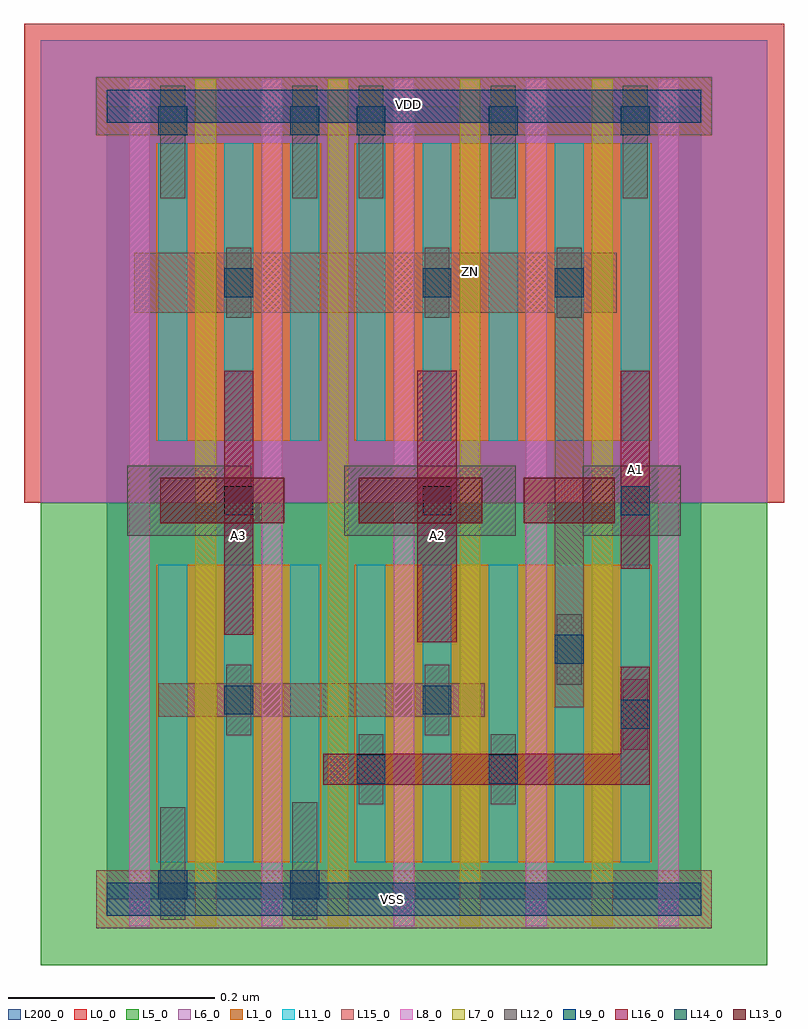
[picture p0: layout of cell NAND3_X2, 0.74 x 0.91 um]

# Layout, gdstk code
import gdstk
lib = gdstk.Library(unit=1e-6, precision=1e-09)
def R(c, l, rs):  # rectangles x0, y0, x1, y1
    for r in rs: c.add(gdstk.rectangle(r[:2], r[2:], *l))
def A(c, l, x, y, w, h, nx, ny, dx, dy):  # array of equal rectangles
    R(c, l, [(x+i*dx, y+j*dy, x+i*dx+w, y+j*dy+h) for i in range(nx) for j in range(ny)])
def P(c, l, *ps):  # polygons
    for p in ps: c.add(gdstk.Polygon(p, *l))
L0_0 = (0, 0)
L1_0 = (1, 0)
L5_0 = (5, 0)
L6_0 = (6, 0)
L7_0 = (7, 0)
L8_0 = (8, 0)
L9_0 = (9, 0)
L11_0 = (11, 0)
L12_0 = (12, 0)
L13_0 = (13, 0)
L14_0 = (14, 0)
L15_0 = (15, 0)
L16_0 = (16, 0)
L200_0 = (200, 0)

nand3_x2 = lib.new_cell('NAND3_X2')
R(nand3_x2, L0_0, [(-0.08,0.384,0.656,0.848)])
R(nand3_x2, L1_0, [(0.048,0.036,0.208,0.324), (0.24,0.036,0.528,0.324), (0.048,0.444,0.208,0.732), (0.24,0.444,0.528,0.732)])
R(nand3_x2, L5_0, [(-0.064,-0.064,0.64,0.384)])
R(nand3_x2, L6_0, [(-0.064,0.384,0.64,0.832)])
A(nand3_x2, L7_0, 0.086, -0.026, 0.02, 0.82, 4, 1, 0.128, 0)
A(nand3_x2, L8_0, 0.022, -0.026, 0.02, 0.82, 5, 1, 0.128, 0)
R(nand3_x2, L9_0, [(0,-0.016,0.576,0.016), (0,0.752,0.576,0.784)])
A(nand3_x2, L11_0, 0.05, 0.036, 0.028, 0.288, 8, 2, 0.064, 0.408)
A(nand3_x2, L12_0, 0.244, 0.679, 0.024, 0.109, 3, 1, 0.128, 0)
R(nand3_x2, L12_0, [(0.052,-0.02,0.076,0.089), (0.18,-0.02,0.204,0.094), (0.244,0.092,0.268,0.16), (0.372,0.092,0.396,0.16), (0.5,0.145,0.524,0.213), (0.116,0.159,0.14,0.227), (0.308,0.159,0.332,0.227), (0.436,0.208,0.46,0.276), (0.02,0.352,0.14,0.42), (0.23,0.352,0.396,0.42), (0.461,0.352,0.556,0.42), (0.116,0.563,0.14,0.631), (0.308,0.563,0.332,0.631), (0.436,0.563,0.46,0.631), (0.052,0.679,0.076,0.788), (0.18,0.679,0.204,0.788)])
R(nand3_x2, L13_0, [(0.052,0.364,0.172,0.408), (0.244,0.364,0.364,0.408), (0.404,0.364,0.492,0.408)])
A(nand3_x2, L14_0, 0.114, 0.372, 0.028, 0.028, 3, 1, 0.192, 0)
A(nand3_x2, L14_0, 0.242, 0.74, 0.028, 0.028, 3, 1, 0.128, 0)
R(nand3_x2, L14_0, [(0.05,0,0.078,0.028), (0.178,0,0.206,0.028), (0.242,0.112,0.27,0.14), (0.37,0.112,0.398,0.14), (0.498,0.165,0.526,0.193), (0.114,0.179,0.142,0.207), (0.306,0.179,0.334,0.207), (0.434,0.228,0.462,0.256), (0.114,0.583,0.142,0.611), (0.306,0.583,0.334,0.611), (0.434,0.583,0.462,0.611), (0.05,0.74,0.078,0.768), (0.178,0.74,0.206,0.768)])
R(nand3_x2, L15_0, [(-0.01,-0.028,0.586,0.028), (0.05,0.177,0.366,0.209), (-0.01,0.74,0.586,0.796)])
P(nand3_x2, L15_0, [(0.027,0.568),(0.434,0.568),(0.434,0.186),(0.462,0.186),(0.462,0.568),(0.494,0.568),(0.494,0.626),(0.027,0.626)])
R(nand3_x2, L16_0, [(0.301,0.249,0.339,0.512), (0.114,0.256,0.142,0.512), (0.498,0.32,0.526,0.512)])
P(nand3_x2, L16_0, [(0.21,0.111),(0.526,0.111),(0.526,0.225),(0.498,0.225),(0.498,0.141),(0.21,0.141)])
R(nand3_x2, L200_0, [(0,0,0.576,0.768)])
nand3_x2.add(gdstk.Label('VSS', (0.277,0), layer=15, texttype=20))
nand3_x2.add(gdstk.Label('ZN', (0.352,0.608), layer=15, texttype=20))
nand3_x2.add(gdstk.Label('VDD', (0.292,0.77), layer=15, texttype=20))
nand3_x2.add(gdstk.Label('A3', (0.128,0.352), layer=16, texttype=20))
nand3_x2.add(gdstk.Label('A2', (0.32,0.352), layer=16, texttype=20))
nand3_x2.add(gdstk.Label('A1', (0.512,0.416), layer=16, texttype=20))

lib.write_gds('NAND3_X2.gds')
